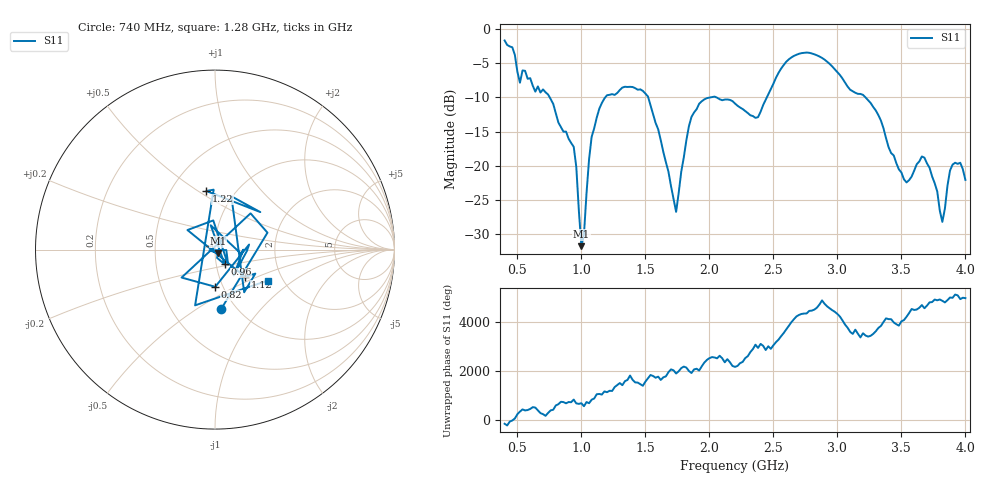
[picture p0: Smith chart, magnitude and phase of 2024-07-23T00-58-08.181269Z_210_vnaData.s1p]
!Created with skrf (http://scikit-rf.org).
# Hz S RI R 50.0
!freq ReS11 ImS11
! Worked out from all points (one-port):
!   181 points, 400 MHz to 4 GHz, reference 50 ohm
!   lowest |S11| = -31.7 dB at 1 GHz (marker M1), VSWR 1.05, Z = 51.6 - j2.07 ohm
!   |S11| at or under -10 dB: 752.4 MHz to 1.187 GHz (434.3 MHz wide, 44.8 % of centre); 1.522 GHz to 2.01 GHz (488.1 MHz wide, 27.6 % of centre); 3.219 GHz to end of sweep (the widest 3 of 4)
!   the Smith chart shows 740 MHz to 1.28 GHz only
!   S11 on the Smith chart (normalised r, x): 740 MHz: 0.86, -0.63; 820 MHz: 0.92, -0.40; 960 MHz: 1.10, -0.18; 1.12 GHz: 1.32, -0.42; 1.22 GHz: 0.74, +0.54; 1.28 GHz: 1.67, -0.65
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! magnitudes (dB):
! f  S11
! 400 MHz  -1.7
! 520 MHz  -7.9
! 740 MHz  -9.6
! 820 MHz  -13.7
! 860 MHz  -15.0
! 960 MHz  -20.2
! 1 GHz  -31.7
! 1.02 GHz  -30.0
! 1.08 GHz  -15.8
! 1.12 GHz  -12.9
! 1.22 GHz  -9.6
! 1.28 GHz  -9.4
! 1.3 GHz  -8.9
! 1.52 GHz  -9.9
! 1.74 GHz  -26.7
! 1.76 GHz  -24.0
! 1.84 GHz  -14.2
! 1.92 GHz  -10.9
! 2.2 GHz  -10.9
! 2.38 GHz  -12.9
! 2.66 GHz  -3.9
! 3.1 GHz  -8.9
! 3.3 GHz  -11.9
! 3.56 GHz  -22.1
! 3.68 GHz  -18.8
! 3.82 GHz  -28.2
! 3.9 GHz  -19.8
! 4 GHz  -22.1
